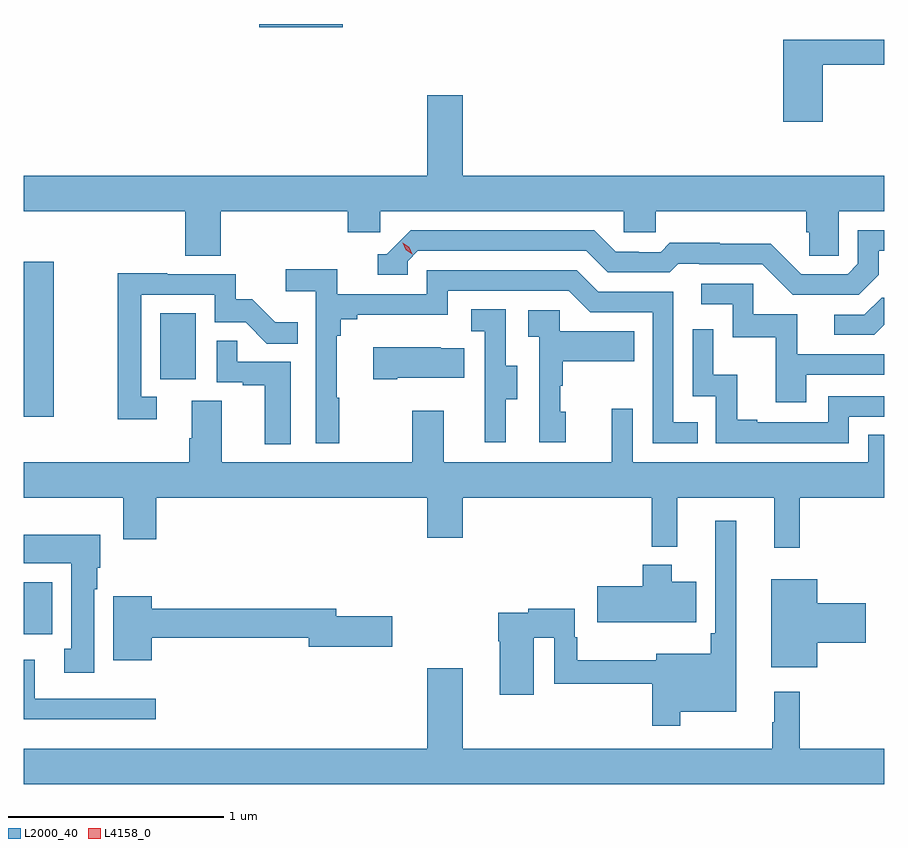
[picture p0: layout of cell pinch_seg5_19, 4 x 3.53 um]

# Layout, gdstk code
import gdstk
lib = gdstk.Library(unit=1e-6, precision=1e-09)
def R(c, l, rs):  # rectangles x0, y0, x1, y1
    for r in rs: c.add(gdstk.rectangle(r[:2], r[2:], *l))
def P(c, l, *ps):  # polygons
    for p in ps: c.add(gdstk.Polygon(p, *l))
L2000_40 = (2000, 40)
L4158_0 = (4158, 0)

pinch_seg5_19 = lib.new_cell('pinch_seg5_19')
R(pinch_seg5_19, L2000_40, [(1122.172,898.748,1122.304,898.99), (1122.172,899.76,1122.31,900.481), (1122.806,899.934,1122.97,900.241), (1123.266,901.571,1123.654,901.586)])
P(pinch_seg5_19, L2000_40, [(1125.887,901.396),(1126.172,901.396),(1126.172,901.512),(1125.704,901.512),(1125.704,901.131),(1125.887,901.131)],
  [(1123.088,900.716),(1123.679,900.716),(1123.679,900.618),(1123.83,900.618),(1123.83,900.716),(1124.961,900.716),(1124.961,900.618),(1125.111,900.618),(1125.111,900.716),(1125.809,900.716),(1125.809,900.618),(1125.823,900.618),(1125.823,900.508),(1125.96,900.508),(1125.96,900.716),(1126.172,900.716),(1126.172,900.88),(1124.212,900.88),(1124.212,901.255),(1124.048,901.255),(1124.048,900.88),(1122.172,900.88),(1122.172,900.716),(1122.923,900.716),(1122.923,900.508),(1123.088,900.508)],
  [(1126.147,900.421),(1126.147,900.531),(1126.172,900.531),(1126.172,900.627),(1126.05,900.627),(1126.05,900.471),(1126.002,900.423),(1125.786,900.423),(1125.644,900.565),(1125.408,900.565),(1125.408,900.568),(1125.175,900.568),(1125.133,900.525),(1125.03,900.525),(1125.03,900.528),(1124.923,900.528),(1124.824,900.627),(1123.971,900.627),(1123.86,900.516),(1123.817,900.516),(1123.817,900.42),(1123.956,900.42),(1123.956,900.483),(1124.004,900.531),(1124.787,900.531),(1124.886,900.432),(1125.175,900.432),(1125.214,900.471),(1125.313,900.471),(1125.313,900.468),(1125.606,900.468),(1125.747,900.327),(1126.053,900.327)],
  [(1123.639,899.849),(1123.627,899.849),(1123.627,900.137),(1123.646,900.137),(1123.646,900.214),(1123.723,900.214),(1123.723,900.233),(1124.142,900.233),(1124.142,900.345),(1124.706,900.345),(1124.805,900.246),(1125.096,900.246),(1125.096,899.637),(1125.305,899.637),(1125.305,899.733),(1125.192,899.733),(1125.192,900.342),(1124.842,900.342),(1124.743,900.441),(1124.046,900.441),(1124.046,900.33),(1123.628,900.33),(1123.628,900.446),(1123.389,900.446),(1123.389,900.344),(1123.53,900.344),(1123.53,899.637),(1123.639,899.637)],
  [(1122.79,899.853),(1122.717,899.853),(1122.717,900.327),(1123.059,900.327),(1123.059,900.198),(1123.204,900.198),(1123.302,900.1),(1123.445,900.1),(1123.445,900.199),(1123.341,900.199),(1123.234,900.306),(1123.158,900.306),(1123.158,900.423),(1122.839,900.423),(1122.839,900.428),(1122.609,900.428),(1122.609,899.748),(1122.79,899.748)],
  [(1125.811,899.955),(1126.172,899.955),(1126.172,900.051),(1125.769,900.051),(1125.769,900.237),(1125.564,900.237),(1125.564,900.378),(1125.321,900.378),(1125.321,900.282),(1125.468,900.282),(1125.468,900.129),(1125.667,900.129),(1125.667,899.826),(1125.811,899.826)],
  [(1126.172,900.187),(1126.172,900.314),(1126.16,900.314),(1126.08,900.234),(1125.939,900.234),(1125.939,900.141),(1126.126,900.141)],
  [(1124.413,899.842),(1124.467,899.842),(1124.467,899.997),(1124.412,899.997),(1124.412,900.26),(1124.253,900.26),(1124.253,900.157),(1124.316,900.157),(1124.316,899.853),(1124.315,899.853),(1124.315,899.64),(1124.413,899.64)],
  [(1124.692,899.784),(1124.667,899.784),(1124.667,899.903),(1124.677,899.903),(1124.677,900.017),(1125.011,900.017),(1125.011,900.157),(1124.664,900.157),(1124.664,900.255),(1124.517,900.255),(1124.517,900.131),(1124.568,900.131),(1124.568,899.64),(1124.692,899.64)],
  [(1126.008,899.76),(1126.172,899.76),(1126.172,899.856),(1125.912,899.856),(1125.912,899.733),(1125.583,899.733),(1125.583,899.746),(1125.488,899.746),(1125.488,899.954),(1125.378,899.954),(1125.378,900.166),(1125.282,900.166),(1125.282,899.856),(1125.39,899.856),(1125.39,899.637),(1126.008,899.637)],
  [(1123.414,900.015),(1123.163,900.015),(1123.163,900.113),(1123.068,900.113),(1123.068,899.919),(1123.189,899.919),(1123.189,899.907),(1123.292,899.907),(1123.292,899.633),(1123.414,899.633)],
  [(1123.909,899.942),(1124.219,899.942),(1124.219,900.079),(1124.111,900.079),(1124.111,900.082),(1123.797,900.082),(1123.797,899.935),(1123.909,899.935)],
  [(1125.779,899.384),(1126.172,899.384),(1126.172,899.675),(1126.098,899.675),(1126.098,899.548),(1125.003,899.548),(1125.003,899.797),(1124.906,899.797),(1124.906,899.548),(1124.125,899.548),(1124.125,899.788),(1123.978,899.788),(1123.978,899.548),(1123.093,899.548),(1123.093,899.834),(1122.953,899.834),(1122.953,899.66),(1122.941,899.66),(1122.941,899.548),(1122.172,899.548),(1122.172,899.384),(1122.635,899.384),(1122.635,899.19),(1122.788,899.19),(1122.788,899.384),(1124.048,899.384),(1124.048,899.196),(1124.212,899.196),(1124.212,899.384),(1125.091,899.384),(1125.091,899.156),(1125.209,899.156),(1125.209,899.384),(1125.662,899.384),(1125.662,899.151),(1125.779,899.151)],
  [(1125.223,898.388),(1125.484,898.388),(1125.484,899.275),(1125.387,899.275),(1125.387,898.753),(1125.367,898.753),(1125.367,898.657),(1125.113,898.657),(1125.113,898.627),(1124.746,898.627),(1124.746,898.734),(1124.733,898.734),(1124.733,898.868),(1124.518,898.868),(1124.518,898.848),(1124.377,898.848),(1124.377,898.715),(1124.384,898.715),(1124.384,898.467),(1124.542,898.467),(1124.542,898.732),(1124.637,898.732),(1124.637,898.518),(1125.094,898.518),(1125.094,898.323),(1125.223,898.323)],
  [(1122.499,898.958),(1122.514,898.958),(1122.514,899.058),(1122.526,899.058),(1122.526,899.212),(1122.172,899.212),(1122.172,899.078),(1122.392,899.078),(1122.392,898.682),(1122.359,898.682),(1122.359,898.569),(1122.499,898.569)],
  [(1125.298,898.993),(1125.184,898.993),(1125.184,899.071),(1125.05,899.071),(1125.05,898.971),(1124.838,898.971),(1124.838,898.805),(1125.298,898.805)],
  [(1125.862,898.709),(1126.087,898.709),(1126.087,898.892),(1125.862,898.892),(1125.862,899.005),(1125.647,899.005),(1125.647,898.595),(1125.862,898.595)],
  [(1122.766,898.732),(1123.496,898.732),(1123.496,898.69),(1123.885,898.69),(1123.885,898.832),(1123.624,898.832),(1123.624,898.868),(1122.766,898.868),(1122.766,898.924),(1122.587,898.924),(1122.587,898.628),(1122.766,898.628)],
  [(1122.784,898.449),(1122.223,898.449),(1122.223,898.63),(1122.172,898.63),(1122.172,898.352),(1122.784,898.352)],
  [(1126.172,898.216),(1125.779,898.216),(1125.779,898.48),(1125.662,898.48),(1125.662,898.34),(1125.651,898.34),(1125.651,898.216),(1124.212,898.216),(1124.212,898.591),(1124.048,898.591),(1124.048,898.216),(1122.172,898.216),(1122.172,898.052),(1126.172,898.052)])
P(pinch_seg5_19, L4158_0, [(1123.979,900.516),(1123.948,900.536),(1123.933,900.569),(1123.933,900.569),(1123.933,900.569),(1123.964,900.549),(1123.979,900.516),(1123.979,900.516)])

lib.write_gds('pinch_seg5_19.gds')
